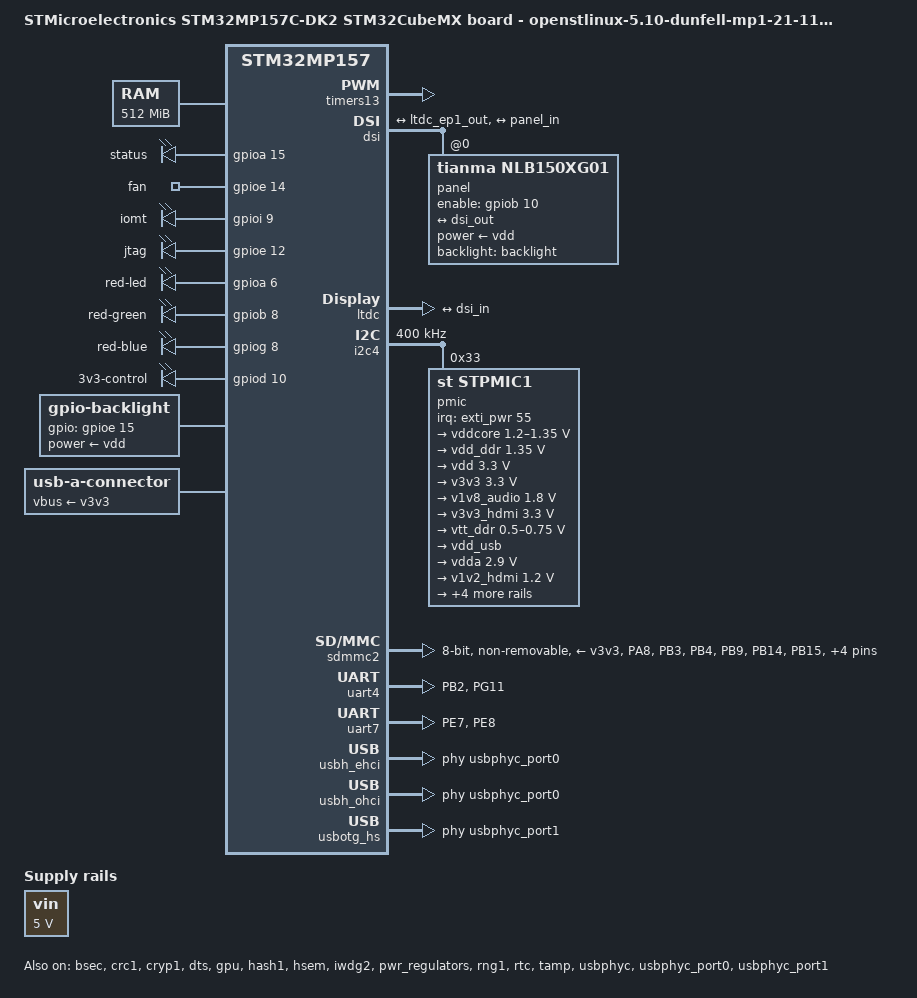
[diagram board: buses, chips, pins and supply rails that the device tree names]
/* SPDX-License-Identifier: (GPL-2.0+ OR BSD-3-Clause) */
/*
 * Copyright (C) STMicroelectronics 2022 - All Rights Reserved
 * Author: STM32CubeMX code generation for STMicroelectronics.
 */

/* For more information on Device Tree configuration, please refer to
 * https://wiki.st.com/stm32mpu/wiki/Category:Device_tree_configuration
 */

/dts-v1/;
#include <dt-bindings/pinctrl/stm32-pinfunc.h>

#include "stm32mp157.dtsi"
#include "stm32mp15xc.dtsi"
#include "stm32mp15xxac-pinctrl.dtsi"
#include "stm32mp15-m4-srm.dtsi"

/* USER CODE BEGIN includes */
#include <dt-bindings/gpio/gpio.h>
#include <dt-bindings/mfd/st,stpmic1.h>
#include <dt-bindings/rtc/rtc-stm32.h>
/* USER CODE END includes */

/ {
	model = "STMicroelectronics STM32MP157C-DK2 STM32CubeMX board - openstlinux-5.10-dunfell-mp1-21-11-17";
	compatible = "st,stm32mp157c-v510-dsi-emmc-mx", "st,stm32mp157";

	memory@c0000000 {
		device_type = "memory";
		reg = <0xc0000000 0x20000000>;

		/* USER CODE BEGIN memory */
		/* USER CODE END memory */
	};

	reserved-memory {
		#address-cells = <1>;
		#size-cells = <1>;
		ranges;

		/* USER CODE BEGIN reserved-memory */

		mcuram2:mcuram2@10000000{
			compatible = "shared-dma-pool";
			reg = <0x10000000 0x40000>;
			no-map;
		};

		vdev0vring0:vdev0vring0@10040000{
			compatible = "shared-dma-pool";
			reg = <0x10040000 0x1000>;
			no-map;
		};

		vdev0vring1:vdev0vring1@10041000{
			compatible = "shared-dma-pool";
			reg = <0x10041000 0x1000>;
			no-map;
		};

		vdev0buffer:vdev0buffer@10042000{
			compatible = "shared-dma-pool";
			reg = <0x10042000 0x4000>;
			no-map;
		};

		mcu_rsc_table:mcu_rsc_table@10048000{
			compatible = "shared-dma-pool";
			reg = <0x10048000 0x8000>;
			no-map;
		};

		mcuram:mcuram@30000000{
			compatible = "shared-dma-pool";
			reg = <0x30000000 0x40000>;
			no-map;
		};

		retram:retram@38000000{
			compatible = "shared-dma-pool";
			reg = <0x38000000 0x10000>;
			no-map;
		};

		gpu_reserved:gpu@d4000000{
			reg = <0xd4000000 0x4000000>;
			no-map;
		};
		/* USER CODE END reserved-memory */
	};

	/* USER CODE BEGIN root */

	aliases{
		serial0 = &uart4;
		serial1 = &uart7;
		mmc1    = &sdmmc2;
	};

    led{
		compatible = "gpio-leds";

		led-0{
			label = "status";
			gpios = <&gpioa 15 GPIO_ACTIVE_HIGH>;
			linux,default-trigger = "heartbeat";
			default-state = "on";
		};
		
		led-1{
			label = "fan";
			gpios = <&gpioe 14 GPIO_ACTIVE_HIGH>;
			linux,default-trigger = "none";
			default-state = "on";
		};

		led-2{
			label = "iomt";
			gpios = <&gpioi 9 GPIO_ACTIVE_HIGH>;
			linux,default-trigger = "none";
			default-state = "on";
		};

		led-3{
			label = "jtag";
			gpios = <&gpioe 12 GPIO_ACTIVE_HIGH>;
			linux,default-trigger = "none";
			default-state = "on";
		};
		led-4{
			label = "red-led";
			gpios = <&gpioa 6 GPIO_ACTIVE_HIGH>;
			linux,default-trigger = "none";
			default-state = "on";
		};

		led-5{
			label = "red-green";
			gpios = <&gpiob 8 GPIO_ACTIVE_HIGH>;
			linux,default-trigger = "none";
			default-state = "on";
		};

		led-6{
			label = "red-blue";
			gpios = <&gpiog 8 GPIO_ACTIVE_HIGH>;
			linux,default-trigger = "none";
			default-state = "off";
		};
		
		led-7{
			label = "3v3-control";
			gpios = <&gpiod 10 GPIO_ACTIVE_HIGH>;
			linux,default-trigger = "none";
			default-state = "on";
		};

	};
	
	vin:vin{
		compatible = "regulator-fixed";
		regulator-name = "vin";
		regulator-min-microvolt = <5000000>;
		regulator-max-microvolt = <5000000>;
		regulator-always-on;
	};

	chosen{
		stdout-path = "serial0:115200n8";
	};
	
	backlight:panel-backlight { 
		compatible = "gpio-backlight";
		power-supply = <&vdd>;
		gpios = <&gpioe 15 GPIO_ACTIVE_HIGH>;
		status = "okay";
	};

	
	usb_phy_tuning:usb-phy-tuning{
		st,hs-dc-level = <2>;
		st,fs-rftime-tuning;
		st,hs-rftime-reduction;
		st,hs-current-trim = <15>;
		st,hs-impedance-trim = <1>;
		st,squelch-level = <3>;
		st,hs-rx-offset = <2>;
		st,no-lsfs-sc;
	};
	
	/* USER CODE END root */

	clocks {
		/* USER CODE BEGIN clocks */
		/* USER CODE END clocks */

#ifndef CONFIG_TFABOOT
		clk_lsi: clk-lsi {
			clock-frequency = <32000>;
		};
		clk_hsi: clk-hsi {
			clock-frequency = <64000000>;
		};
		clk_csi: clk-csi {
			clock-frequency = <4000000>;
		};
		clk_lse: clk-lse {
			clock-frequency = <32768>;
		};
		clk_hse: clk-hse {
			clock-frequency = <24000000>;
		};
#endif	/*CONFIG_TFABOOT*/
	};

}; /*root*/

&pinctrl {
	u-boot,dm-pre-reloc;

	sdmmc2_pins_mx: sdmmc2_mx-0 {
		u-boot,dm-pre-reloc;
		pins1 {
			u-boot,dm-pre-reloc;
			pinmux = <STM32_PINMUX('A', 8, AF9)>, /* SDMMC2_D4 */
					 <STM32_PINMUX('B', 3, AF9)>, /* SDMMC2_D2 */
					 <STM32_PINMUX('B', 4, AF9)>, /* SDMMC2_D3 */
					 <STM32_PINMUX('B', 9, AF10)>, /* SDMMC2_D5 */
					 <STM32_PINMUX('B', 14, AF9)>, /* SDMMC2_D0 */
					 <STM32_PINMUX('B', 15, AF9)>, /* SDMMC2_D1 */
					 <STM32_PINMUX('C', 7, AF10)>, /* SDMMC2_D7 */
					 <STM32_PINMUX('E', 5, AF9)>, /* SDMMC2_D6 */
					 <STM32_PINMUX('G', 6, AF10)>; /* SDMMC2_CMD */
			bias-pull-up;
			drive-push-pull;
			slew-rate = <1>;
		};
		pins2 {
			u-boot,dm-pre-reloc;
			pinmux = <STM32_PINMUX('E', 3, AF9)>; /* SDMMC2_CK */
			bias-pull-up;
			drive-push-pull;
			slew-rate = <3>;
		};
	};

	sdmmc2_opendrain_pins_mx: sdmmc2_opendrain_mx-0 {
		u-boot,dm-pre-reloc;
		pins1 {
			u-boot,dm-pre-reloc;
			pinmux = <STM32_PINMUX('A', 8, AF9)>, /* SDMMC2_D4 */
					 <STM32_PINMUX('B', 3, AF9)>, /* SDMMC2_D2 */
					 <STM32_PINMUX('B', 4, AF9)>, /* SDMMC2_D3 */
					 <STM32_PINMUX('B', 9, AF10)>, /* SDMMC2_D5 */
					 <STM32_PINMUX('B', 14, AF9)>, /* SDMMC2_D0 */
					 <STM32_PINMUX('B', 15, AF9)>, /* SDMMC2_D1 */
					 <STM32_PINMUX('C', 7, AF10)>, /* SDMMC2_D7 */
					 <STM32_PINMUX('E', 5, AF9)>; /* SDMMC2_D6 */
			bias-pull-up;
			drive-push-pull;
			slew-rate = <1>;
		};
		pins2 {
			u-boot,dm-pre-reloc;
			pinmux = <STM32_PINMUX('E', 3, AF9)>; /* SDMMC2_CK */
			bias-pull-up;
			drive-push-pull;
			slew-rate = <3>;
		};
		pins3 {
			u-boot,dm-pre-reloc;
			pinmux = <STM32_PINMUX('G', 6, AF10)>; /* SDMMC2_CMD */
			bias-pull-up;
			drive-open-drain;
			slew-rate = <1>;
		};
	};

	sdmmc2_sleep_pins_mx: sdmmc2_sleep_mx-0 {
		u-boot,dm-pre-reloc;
		pins {
			u-boot,dm-pre-reloc;
			pinmux = <STM32_PINMUX('A', 8, ANALOG)>, /* SDMMC2_D4 */
					 <STM32_PINMUX('B', 3, ANALOG)>, /* SDMMC2_D2 */
					 <STM32_PINMUX('B', 4, ANALOG)>, /* SDMMC2_D3 */
					 <STM32_PINMUX('B', 9, ANALOG)>, /* SDMMC2_D5 */
					 <STM32_PINMUX('B', 14, ANALOG)>, /* SDMMC2_D0 */
					 <STM32_PINMUX('B', 15, ANALOG)>, /* SDMMC2_D1 */
					 <STM32_PINMUX('C', 7, ANALOG)>, /* SDMMC2_D7 */
					 <STM32_PINMUX('E', 3, ANALOG)>, /* SDMMC2_CK */
					 <STM32_PINMUX('E', 5, ANALOG)>, /* SDMMC2_D6 */
					 <STM32_PINMUX('G', 6, ANALOG)>; /* SDMMC2_CMD */
		};
	};

	uart4_pins_mx: uart4_mx-0 {
		u-boot,dm-pre-reloc;
		pins1 {
			u-boot,dm-pre-reloc;
			pinmux = <STM32_PINMUX('B', 2, AF8)>; /* UART4_RX */
			bias-disable;
		};
		pins2 {
			u-boot,dm-pre-reloc;
			pinmux = <STM32_PINMUX('G', 11, AF6)>; /* UART4_TX */
			bias-disable;
			drive-push-pull;
			slew-rate = <0>;
		};
	};

	uart4_sleep_pins_mx: uart4_sleep_mx-0 {
		u-boot,dm-pre-reloc;
		pins {
			u-boot,dm-pre-reloc;
			pinmux = <STM32_PINMUX('B', 2, ANALOG)>, /* UART4_RX */
					 <STM32_PINMUX('G', 11, ANALOG)>; /* UART4_TX */
		};
	};

	uart7_pins_mx: uart7_mx-0 {
		pins1 {
			pinmux = <STM32_PINMUX('E', 7, AF7)>; /* UART7_RX */
			bias-disable;
		};
		pins2 {
			pinmux = <STM32_PINMUX('E', 8, AF7)>; /* UART7_TX */
			bias-disable;
			drive-push-pull;
			slew-rate = <0>;
		};
	};

	uart7_sleep_pins_mx: uart7_sleep_mx-0 {
		pins {
			pinmux = <STM32_PINMUX('E', 7, ANALOG)>, /* UART7_RX */
					 <STM32_PINMUX('E', 8, ANALOG)>; /* UART7_TX */
		};
	};
	
	tim13_pwm_pins_mx: tim13_pwm_mx-0 {
		pins {
			pinmux = <STM32_PINMUX('F', 8, AF9)>; /* TIM13_CH1 */
			bias-disable;
			drive-push-pull;
			slew-rate = <0>;
		};
	};

	tim13_pwm_sleep_pins_mx: tim13_pwm_sleep_mx-0 {
		pins {
			pinmux = <STM32_PINMUX('F', 8, ANALOG)>; /* TIM13_CH1 */
		};
	};


	/* USER CODE BEGIN pinctrl */
	/* USER CODE END pinctrl */
};

&pinctrl_z {
	u-boot,dm-pre-reloc;

	i2c4_pins_z_mx: i2c4_mx-0 {
		u-boot,dm-pre-reloc;
		pins {
			u-boot,dm-pre-reloc;
			pinmux = <STM32_PINMUX('Z', 4, AF6)>, /* I2C4_SCL */
					 <STM32_PINMUX('Z', 5, AF6)>; /* I2C4_SDA */
			bias-disable;
			drive-open-drain;
			slew-rate = <0>;
		};
	};

	i2c4_sleep_pins_z_mx: i2c4_sleep_mx-0 {
		u-boot,dm-pre-reloc;
		pins {
			u-boot,dm-pre-reloc;
			pinmux = <STM32_PINMUX('Z', 4, ANALOG)>, /* I2C4_SCL */
					 <STM32_PINMUX('Z', 5, ANALOG)>; /* I2C4_SDA */
		};
	};

	/* USER CODE BEGIN pinctrl_z */
	/* USER CODE END pinctrl_z */
};

&timers13{
	status = "okay";

	/* USER CODE BEGIN timers13 */
	/* USER CODE END timers13 */

	pwm13:pwm{
		pinctrl-names = "default", "sleep";
		pinctrl-0 = <&tim13_pwm_pins_mx>;
		pinctrl-1 = <&tim13_pwm_sleep_pins_mx>;
		status = "okay";

		/* USER CODE BEGIN timers13_pwm */
		#pwm-cells = <2>;
		/* USER CODE END timers13_pwm */
	};
};

&bsec{
	status = "okay";

	/* USER CODE BEGIN bsec */
	/* USER CODE END bsec */
};

&crc1{
	status = "okay";

	/* USER CODE BEGIN crc1 */
	/* USER CODE END crc1 */
};

&cryp1{
	u-boot,dm-pre-reloc;
	status = "okay";

	/* USER CODE BEGIN cryp1 */
	/* USER CODE END cryp1 */
};

&dma1{
	status = "okay";

	/* USER CODE BEGIN dma1 */
	sram = <&dma_pool>;
	/* USER CODE END dma1 */
};

&dma2{
	status = "okay";

	/* USER CODE BEGIN dma2 */
	sram = <&dma_pool>;
	/* USER CODE END dma2 */
};

&dmamux1{
	status = "okay";

	dma-masters = <&dma1 &dma2>;
	dma-channels = <16>;

	/* USER CODE BEGIN dmamux1 */
	/* USER CODE END dmamux1 */
};

&dsi{
	#address-cells = <1>;
	#size-cells = <0>;
	status = "okay";

	/* USER CODE BEGIN dsi */

	ports{
	
	    #address-cells = <1>;
	    #size-cells = <0>;

		port@0{
			reg = <0>;

			dsi_in:endpoint{
				remote-endpoint = <&ltdc_ep1_out>;
			};
		};

		port@1{
			reg = <1>;

			dsi_out:endpoint{
				remote-endpoint = <&panel_in>;
			};
		};
	};
	panel@0 {
		compatible = "tianma,nlb150xg01";
		reg = <0>;
		enable-gpios = <&gpiob 10 GPIO_ACTIVE_HIGH>;
		power-supply = <&vdd>;
		backlight = <&backlight>;
		//pwms = <&pwm13>;
		status = "okay";
		port {
			panel_in: endpoint {
				remote-endpoint = <&dsi_out>;
			};
		};
	};
	/* USER CODE END dsi */
};

&ltdc{
	status = "okay";

	/* USER CODE BEGIN ltdc */

	port{

		ltdc_ep1_out:endpoint@0{
			reg = <0>;
			remote-endpoint = <&dsi_in>;
		};
	};
	/* USER CODE END ltdc */
};

&dts{
	status = "okay";

	/* USER CODE BEGIN dts */
	/* USER CODE END dts */
};

&gpu{
	status = "okay";

	/* USER CODE BEGIN gpu */
	contiguous-area = <&gpu_reserved>;
	/* USER CODE END gpu */
};

&hash1{
	u-boot,dm-pre-reloc;
	status = "okay";

	/* USER CODE BEGIN hash1 */
	/* USER CODE END hash1 */
};

&hsem{
	status = "okay";

	/* USER CODE BEGIN hsem */
	/* USER CODE END hsem */
};

&i2c4{
	u-boot,dm-pre-reloc;
	pinctrl-names = "default", "sleep";
	pinctrl-0 = <&i2c4_pins_z_mx>;
	pinctrl-1 = <&i2c4_sleep_pins_z_mx>;
	status = "okay";

	/* USER CODE BEGIN i2c4 */
	i2c-scl-rising-time-ns = <185>;
	i2c-scl-falling-time-ns = <20>;
	clock-frequency = <400000>;
	/delete-property/ dmas;
	/delete-property/ dma-names;
		
	pmic:stpmic@33{
		compatible = "st,stpmic1";
		reg = <0x33>;
		interrupts-extended = <&exti_pwr 55 IRQ_TYPE_EDGE_FALLING>;
		interrupt-controller;
		#interrupt-cells = <2>;
		status = "okay";

		regulators{
			compatible = "st,stpmic1-regulators";
			buck1-supply = <&vin>;
			buck2-supply = <&vin>;
			buck3-supply = <&vin>;
			buck4-supply = <&vin>;
			ldo1-supply = <&v3v3>;
			ldo2-supply = <&vin>;
			ldo3-supply = <&vdd_ddr>;
			ldo4-supply = <&vin>;
			ldo5-supply = <&vin>;
			ldo6-supply = <&v3v3>;
			vref_ddr-supply = <&vin>;
			boost-supply = <&vin>;
			pwr_sw1-supply = <&bst_out>;
			pwr_sw2-supply = <&bst_out>;

			vddcore:buck1{
				regulator-name = "vddcore";
				regulator-min-microvolt = <1200000>;
				regulator-max-microvolt = <1350000>;
				regulator-always-on;
				regulator-initial-mode = <0>;
				regulator-over-current-protection;
			};

			vdd_ddr:buck2{
				regulator-name = "vdd_ddr";
				regulator-min-microvolt = <1350000>;
				regulator-max-microvolt = <1350000>;
				regulator-always-on;
				regulator-initial-mode = <0>;
				regulator-over-current-protection;
			};

			vdd:buck3{
				regulator-name = "vdd";
				regulator-min-microvolt = <3300000>;
				regulator-max-microvolt = <3300000>;
				regulator-always-on;
				st,mask-reset;
				regulator-initial-mode = <0>;
				regulator-over-current-protection;
			};

			v3v3:buck4{
				regulator-name = "v3v3";
				regulator-min-microvolt = <3300000>;
				regulator-max-microvolt = <3300000>;
				regulator-always-on;
				regulator-over-current-protection;
				regulator-initial-mode = <0>;
			};

			v1v8_audio:ldo1{
				regulator-name = "v1v8_audio";
				regulator-min-microvolt = <1800000>;
				regulator-max-microvolt = <1800000>;
				regulator-always-on;
				interrupts = <IT_CURLIM_LDO1 0>;
			};

			v3v3_hdmi:ldo2{
				regulator-name = "v3v3_hdmi";
				regulator-min-microvolt = <3300000>;
				regulator-max-microvolt = <3300000>;
				regulator-always-on;
				interrupts = <IT_CURLIM_LDO2 0>;
			};

			vtt_ddr:ldo3{
				regulator-name = "vtt_ddr";
				regulator-min-microvolt = <500000>;
				regulator-max-microvolt = <750000>;
				regulator-always-on;
				regulator-over-current-protection;
			};

			vdd_usb:ldo4{
				regulator-name = "vdd_usb";
				interrupts = <IT_CURLIM_LDO4 0>;
			};

			vdda:ldo5{
				regulator-name = "vdda";
				regulator-min-microvolt = <2900000>;
				regulator-max-microvolt = <2900000>;
				interrupts = <IT_CURLIM_LDO5 0>;
				regulator-boot-on;
			};

			v1v2_hdmi:ldo6{
				regulator-name = "v1v2_hdmi";
				regulator-min-microvolt = <1200000>;
				regulator-max-microvolt = <1200000>;
				regulator-always-on;
				interrupts = <IT_CURLIM_LDO6 0>;
			};

			vref_ddr:vref_ddr{
				regulator-name = "vref_ddr";
				regulator-always-on;
				regulator-over-current-protection;
			};

			bst_out:boost{
				regulator-name = "bst_out";
				interrupts = <IT_OCP_BOOST 0>;
			};

			vbus_otg:pwr_sw1{
				regulator-name = "vbus_otg";
				interrupts = <IT_OCP_OTG 0>;
			};

			vbus_sw:pwr_sw2{
				regulator-name = "vbus_sw";
				interrupts = <IT_OCP_SWOUT 0>;
				regulator-active-discharge = <1>;
			};
		};

		onkey{
			compatible = "st,stpmic1-onkey";
			interrupts = <IT_PONKEY_F 0>, <IT_PONKEY_R 0>;
			interrupt-names = "onkey-falling", "onkey-rising";
			power-off-time-sec = <12>;
			status = "okay";
		};

		watchdog{
			compatible = "st,stpmic1-wdt";
			status = "disabled";
		};
	};
	/* USER CODE END i2c4 */
};

&iwdg2{
	u-boot,dm-pre-reloc;
	status = "okay";

	/* USER CODE BEGIN iwdg2 */
	timeout-sec = <32>;
	/* USER CODE END iwdg2 */
};



&mdma1{
	status = "okay";

	/* USER CODE BEGIN mdma1 */
	/* USER CODE END mdma1 */
};

&pwr_regulators{
	status = "okay";

	/* USER CODE BEGIN pwr_regulators */
	vdd-supply = <&vdd>;
	vdd_3v3_usbfs-supply = <&vdd_usb>;
	/* USER CODE END pwr_regulators */
};

&rcc{
	u-boot,dm-pre-reloc;
	status = "okay";

	/* USER CODE BEGIN rcc */
	/* USER CODE END rcc */
};

&rng1{
	status = "okay";

	/* USER CODE BEGIN rng1 */
	/* USER CODE END rng1 */
};

&rtc{
	status = "okay";

	/* USER CODE BEGIN rtc */
	/* USER CODE END rtc */
};

&sdmmc2{
	u-boot,dm-pre-reloc;
	pinctrl-names = "default", "opendrain", "sleep";
	pinctrl-0 = <&sdmmc2_pins_mx>;
	pinctrl-1 = <&sdmmc2_opendrain_pins_mx>;
	pinctrl-2 = <&sdmmc2_sleep_pins_mx>;
	status = "okay";

	/* USER CODE BEGIN sdmmc2 */
	non-removable;
	no-sd;
	no-sdio;
	mmc-ddr-3_3v;
	st,neg-edge;
	bus-width = <8>;
	vmmc-supply = <&v3v3>;
	vqmmc-supply = <&vdd>;
	/* USER CODE END sdmmc2 */
};

&tamp{
	status = "okay";

	/* USER CODE BEGIN tamp */
	/* USER CODE END tamp */
};




&uart4{
	u-boot,dm-pre-reloc;
	pinctrl-names = "default", "sleep";
	pinctrl-0 = <&uart4_pins_mx>;
	pinctrl-1 = <&uart4_sleep_pins_mx>;
	status = "okay";

	/* USER CODE BEGIN uart4 */
	/delete-property/ dmas;
	/delete-property/ dma-names;
	/* USER CODE END uart4 */
};

&uart7{
	pinctrl-names = "default", "sleep";
	pinctrl-0 = <&uart7_pins_mx>;
	pinctrl-1 = <&uart7_sleep_pins_mx>;
	status = "okay";

	/* USER CODE BEGIN uart7 */

	/* USER CODE END uart7 */
};

/* USER CODE BEGIN addons */

&cpu0{
	cpu-supply = <&vddcore>;
};

&cpu1{
	cpu-supply = <&vddcore>;
};

&sram{

	dma_pool:dma_pool@0{
		reg = <0x50000 0x10000>;
		pool;
	};
};

&usbh_ehci{
	status = "okay";

	/* USER CODE BEGIN usbh_ehci */
	phys = <&usbphyc_port0>;
	/* USER CODE END usbh_ehci */
};

&usbh_ohci{
	status = "okay";

	/* USER CODE BEGIN usbh_ohci */
	/* USER CODE END usbh_ohci */
};

&usbotg_hs{
	u-boot,dm-pre-reloc;
	status = "okay";

	/* USER CODE BEGIN usbotg_hs */
	phys = <&usbphyc_port1 0>;
	phy-names = "usb2-phy";
	usb-role-switch;

	port{

	};
	/* USER CODE END usbotg_hs */
};

&usbphyc{
	u-boot,dm-pre-reloc;
	status = "okay";

	/* USER CODE BEGIN usbphyc */
	/* USER CODE END usbphyc */
};

&usbphyc_port0{
	u-boot,dm-pre-reloc;
	status = "okay";

	/* USER CODE BEGIN usbphyc_port0 */
	phy-supply = <&vdd_usb>;
	st,phy-tuning = <&usb_phy_tuning>;

	connector{
		compatible = "usb-a-connector";
		vbus-supply = <&v3v3>;
	};
	/* USER CODE END usbphyc_port0 */
};

&usbphyc_port1{
	u-boot,dm-pre-reloc;
	status = "okay";

	/* USER CODE BEGIN usbphyc_port1 */
	phy-supply = <&vdd_usb>;
	st,phy-tuning = <&usb_phy_tuning>;
	/* USER CODE END usbphyc_port1 */
};

&usbh_ohci{
	phys = <&usbphyc_port0>;
};


/* USER CODE END addons */


